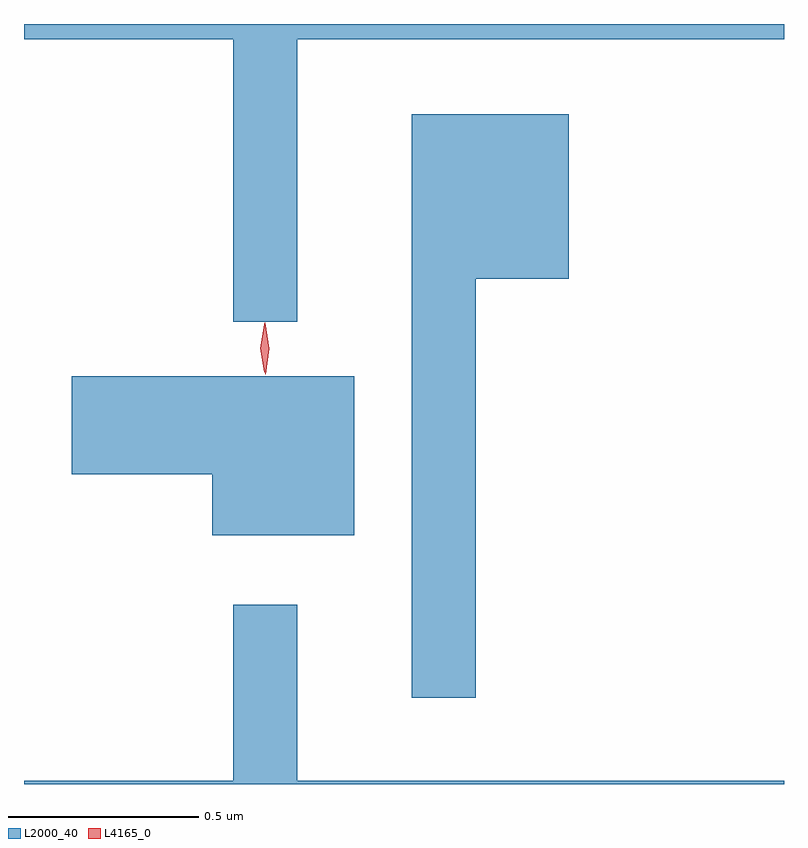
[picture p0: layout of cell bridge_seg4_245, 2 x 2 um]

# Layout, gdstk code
import gdstk
lib = gdstk.Library(unit=1e-6, precision=1e-09)
def P(c, l, *ps):  # polygons
    for p in ps: c.add(gdstk.Polygon(p, *l))
L2000_40 = (2000, 40)
L4165_0 = (4165, 0)

bridge_seg4_245 = lib.new_cell('bridge_seg4_245')
P(bridge_seg4_245, L2000_40, [(736.479,1376.876),(737.76,1376.876),(737.76,1376.916),(735.76,1376.916),(735.76,1376.876),(736.311,1376.876),(736.311,1376.133),(736.479,1376.133)],
  [(736.949,1376.246),(737.194,1376.246),(737.194,1376.679),(736.781,1376.679),(736.781,1375.143),(736.949,1375.143)],
  [(736.629,1375.989),(735.886,1375.989),(735.886,1375.731),(736.256,1375.731),(736.256,1375.571),(736.629,1375.571)],
  [(737.76,1374.924),(736.479,1374.924),(736.479,1375.388),(736.311,1375.388),(736.311,1374.924),(735.76,1374.924),(735.76,1374.916),(737.76,1374.916)])
P(bridge_seg4_245, L4165_0, [(736.395,1375.994),(736.385,1376.062),(736.394,1376.13),(736.395,1376.13),(736.395,1376.13),(736.405,1376.062),(736.396,1375.994),(736.396,1375.994)],
  [(736.392,1376),(736.392,1376),(736.382,1376.063),(736.392,1376.126),(736.392,1376.127),(736.392,1376.126),(736.402,1376.063),(736.392,1376)])

lib.write_gds('bridge_seg4_245.gds')
